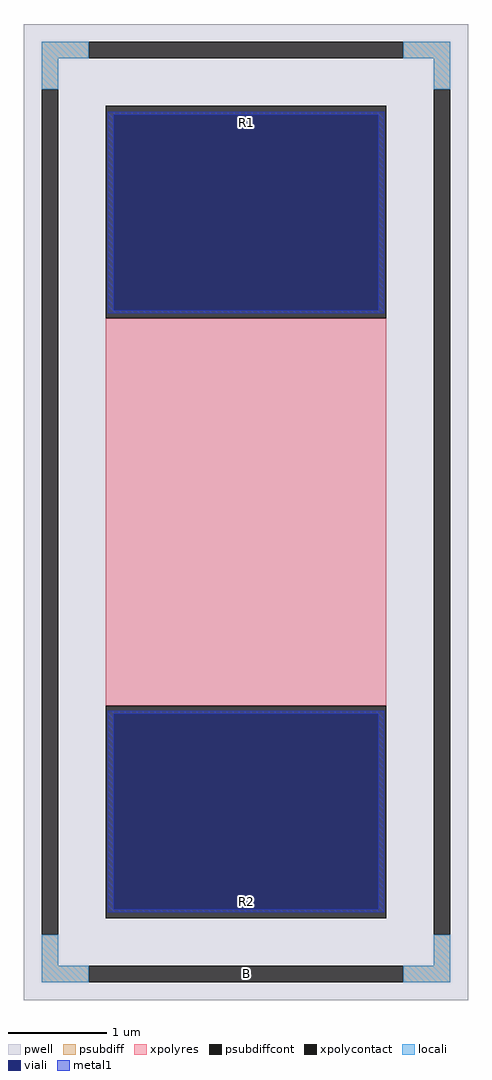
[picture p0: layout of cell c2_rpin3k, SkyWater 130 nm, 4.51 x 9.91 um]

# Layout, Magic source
magic
tech sky130A
magscale 1 2
<< pwell >>
rect -451 -991 451 991
<< psubdiff >>
rect -415 921 -319 955
rect 319 921 415 955
rect -415 859 -381 921
rect 381 859 415 921
rect -415 -921 -381 -859
rect 381 -921 415 -859
rect -415 -955 -319 -921
rect 319 -955 415 -921
<< psubdiffcont >>
rect -319 921 319 955
rect -415 -859 -381 859
rect 381 -859 415 859
rect -319 -955 319 -921
<< xpolycontact >>
rect -285 393 285 825
rect -285 -825 285 -393
<< xpolyres >>
rect -285 -393 285 393
<< locali >>
rect -415 921 -319 955
rect 319 921 415 955
rect -415 859 -381 921
rect 381 859 415 921
rect -415 -921 -381 -859
rect 381 -921 415 -859
rect -415 -955 -319 -921
rect 319 -955 415 -921
<< viali >>
rect -269 410 269 807
rect -269 -807 269 -410
<< metal1 >>
rect -281 807 281 813
rect -281 410 -269 807
rect 269 410 281 807
rect -281 404 281 410
rect -281 -410 281 -404
rect -281 -807 -269 -410
rect 269 -807 281 -410
rect -281 -813 281 -807
<< labels >>
rlabel psubdiffcont 0 -938 0 -938 0 B
port 1 nsew
rlabel xpolycontact 0 790 0 790 0 R1
port 2 nsew
rlabel xpolycontact 0 -790 0 -790 0 R2
port 3 nsew
<< properties >>
string FIXED_BBOX -398 -938 398 938
string gencell sky130_fd_pr__res_xhigh_po_2p85
string library sky130
string parameters w 2.85 l 4.09 m 1 nx 1 wmin 2.850 lmin 0.50 class resistor rho 2000 val 3.002k dummy 0 dw 0.0 term 188.2 sterm 0.0 caplen 0 wmax 2.850 guard 1 glc 1 grc 1 gtc 1 gbc 1 compatible {sky130_fd_pr__res_xhigh_po_0p35  sky130_fd_pr__res_xhigh_po_0p69 sky130_fd_pr__res_xhigh_po_1p41  sky130_fd_pr__res_xhigh_po_2p85 sky130_fd_pr__res_xhigh_po_5p73} snake 0 full_metal 1 n_guard 0 hv_guard 0 vias 1 viagb 0 viagt 0 viagl 0 viagr 0 doports 1
<< end >>
